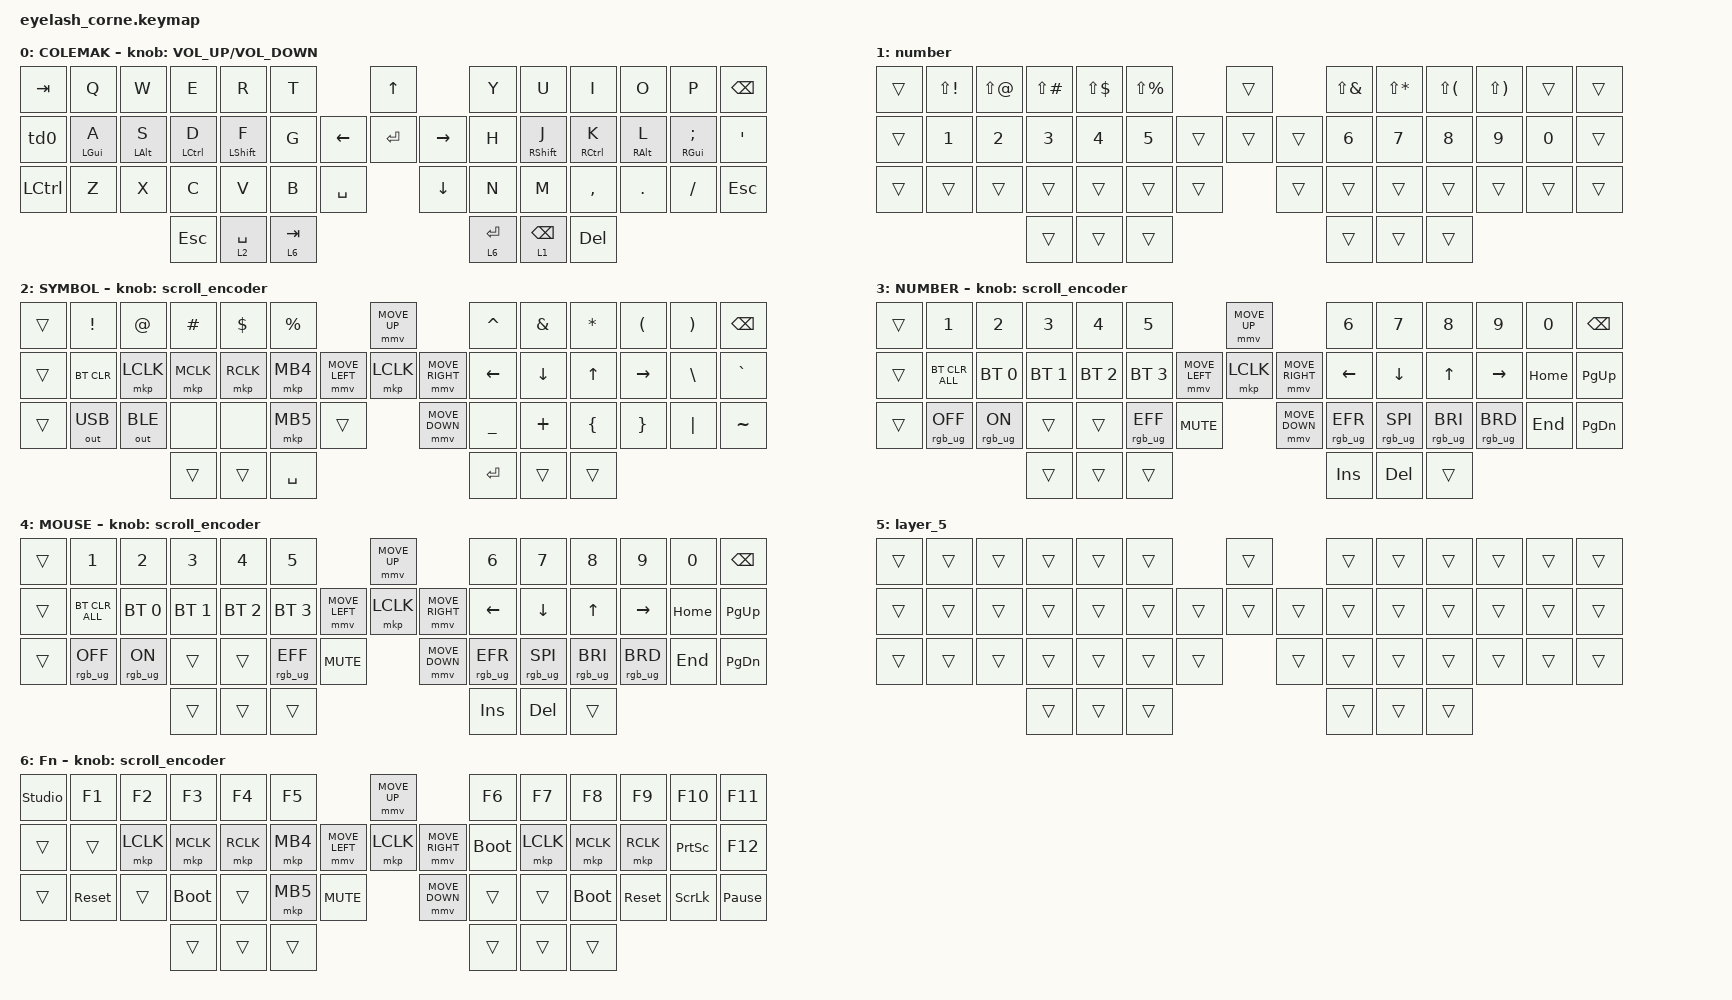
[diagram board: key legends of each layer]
#include <dt-bindings/zmk/mouse.h>
#include <input/processors.dtsi>
#include <behaviors.dtsi>
#include <dt-bindings/zmk/bt.h>
#include <dt-bindings/zmk/keys.h>
#include <dt-bindings/zmk/outputs.h>
#include <dt-bindings/zmk/pointing.h>
#include <dt-bindings/zmk/rgb.h>

/*

   &mmv_input_listener {
       input-processors = <&zip_xy_scaler 2 1>;
   };

   &msc_input_listener {
       input-processors = <&zip_xy_scaler 2 1>;
   };

 */

#define ZMK_MOUSE_DEFAULT_MOVE_VAL 1200  // 600
#define ZMK_MOUSE_DEFAULT_SCRL_VAL 20    // 10

/ {
    behaviors {
        td0: td0 {
            compatible = "zmk,behavior-tap-dance";
            display-name = "Shift/Caps Lock Tap Dance";
            #binding-cells = <0>;
            bindings = <&kp LEFT_SHIFT>, <&kp CAPS>;
        };
    };

    rgb_encoder: rgb_encoder {
        compatible = "zmk,behavior-sensor-rotate";
        #sensor-binding-cells = <0>;
        bindings = <&rgb_ug RGB_BRI>, <&rgb_ug RGB_BRD>;
    };

    scroll_encoder: scroll_encoder {
        compatible = "zmk,behavior-sensor-rotate";
        #sensor-binding-cells = <0>;
        bindings = <&msc SCRL_DOWN>, <&msc SCRL_UP>;

        tap-ms = <30>;
    };

    keymap {
        compatible = "zmk,keymap";

        default_layer {
            display-name = "COLEMAK";
            bindings = <
&kp TAB    &kp Q           &kp W           &kp E               &kp R             &kp T                             &kp UP                &kp Y        &kp U              &kp I        &kp O            &kp P                    &kp BSPC
&td0       &mt LEFT_GUI A  &mt LEFT_ALT S  &mt LEFT_CONTROL D  &mt LEFT_SHIFT F  &kp G                   &kp LEFT  &kp ENTER  &kp RIGHT  &kp H        &mt RIGHT_SHIFT J  &mt RCTRL K  &mt RIGHT_ALT L  &mt RIGHT_GUI SEMICOLON  &kp SQT
&kp LCTRL  &kp Z           &kp X           &kp C               &kp V             &kp B      &kp SPACE              &kp DOWN              &kp N        &kp M              &kp COMMA    &kp DOT          &kp FSLH                 &kp ESC
                                           &kp ESCAPE          &lt 2 SPACE       &lt 6 TAB                                               &lt 6 ENTER  &lt 1 BACKSPACE    &kp DELETE
            >;

            sensor-bindings = <&inc_dec_kp C_VOLUME_UP C_VOLUME_DOWN>;
        };

        number {
            bindings = <
&trans  &kp LS(EXCL)  &kp LS(AT)  &kp LS(POUND)  &kp LS(DLLR)  &kp LS(PRCNT)                    &trans          &kp LS(AMPS)  &kp LS(STAR)  &kp LS(LPAR)  &kp LS(RPAR)  &trans  &trans
&trans  &kp NUMBER_1  &kp N2      &kp N3         &kp N4        &kp N5                   &trans  &trans  &trans  &kp N6        &kp N7        &kp N8        &kp N9        &kp N0  &trans
&trans  &trans        &trans      &trans         &trans        &trans         &trans            &trans          &trans        &trans        &trans        &trans        &trans  &trans
                                  &trans         &trans        &trans                                           &trans        &trans        &trans
            >;
        };

        vim {
            display-name = "SYMBOL";
            bindings = <
&trans  &kp EXCL      &kp AT        &kp HASH   &kp DLLR   &kp PRCNT                            &mmv MOVE_UP                     &kp CARET       &kp AMPS        &kp ASTRK     &kp LPAR         &kp RPAR  &kp BSPC
&trans  &bt BT_CLR    &mkp LCLK     &mkp MCLK  &mkp RCLK  &mkp MB4             &mmv MOVE_LEFT  &mkp LCLK       &mmv MOVE_RIGHT  &kp LEFT_ARROW  &kp DOWN_ARROW  &kp UP_ARROW  &kp RIGHT_ARROW  &kp BSLH  &kp GRAVE
&trans  &out OUT_USB  &out OUT_BLE  &none      &none      &mkp MB5   &trans                    &mmv MOVE_DOWN                   &kp UNDER       &kp PLUS        &kp LBRC      &kp RBRC         &kp PIPE  &kp TILDE
                                    &trans     &trans     &kp SPACE                                                             &kp RET         &trans          &trans
            >;

            sensor-bindings = <&scroll_encoder>;
        };

        lower_layer {
            display-name = "NUMBER";
            bindings = <
&trans  &kp N1           &kp N2          &kp N3        &kp N4        &kp N5                                         &mmv MOVE_UP                     &kp N6           &kp N7           &kp N8           &kp N9           &kp N0    &kp BSPC
&trans  &bt BT_CLR_ALL   &bt BT_SEL 0    &bt BT_SEL 1  &bt BT_SEL 2  &bt BT_SEL 3                   &mmv MOVE_LEFT  &mkp LCLK       &mmv MOVE_RIGHT  &kp LEFT         &kp DOWN         &kp UP           &kp RIGHT        &kp HOME  &kp PG_UP
&trans  &rgb_ug RGB_OFF  &rgb_ug RGB_ON  &trans        &trans        &rgb_ug RGB_EFF  &kp C_MUTE                    &mmv MOVE_DOWN                   &rgb_ug RGB_EFR  &rgb_ug RGB_SPI  &rgb_ug RGB_BRI  &rgb_ug RGB_BRD  &kp END   &kp PG_DN
                                         &trans        &trans        &trans                                                                          &kp INS          &kp DEL          &trans
            >;

            sensor-bindings = <&scroll_encoder>;
        };

        mouse {
            display-name = "MOUSE";
            bindings = <
&trans  &kp N1           &kp N2          &kp N3        &kp N4        &kp N5                                         &mmv MOVE_UP                     &kp N6           &kp N7           &kp N8           &kp N9           &kp N0    &kp BSPC
&trans  &bt BT_CLR_ALL   &bt BT_SEL 0    &bt BT_SEL 1  &bt BT_SEL 2  &bt BT_SEL 3                   &mmv MOVE_LEFT  &mkp LCLK       &mmv MOVE_RIGHT  &kp LEFT         &kp DOWN         &kp UP           &kp RIGHT        &kp HOME  &kp PG_UP
&trans  &rgb_ug RGB_OFF  &rgb_ug RGB_ON  &trans        &trans        &rgb_ug RGB_EFF  &kp C_MUTE                    &mmv MOVE_DOWN                   &rgb_ug RGB_EFR  &rgb_ug RGB_SPI  &rgb_ug RGB_BRI  &rgb_ug RGB_BRD  &kp END   &kp PG_DN
                                         &trans        &trans        &trans                                                                          &kp INS          &kp DEL          &trans
            >;

            sensor-bindings = <&scroll_encoder>;
        };

        layer_5 {
            bindings = <
&trans  &trans  &trans  &trans  &trans  &trans                    &trans          &trans  &trans  &trans  &trans  &trans  &trans
&trans  &trans  &trans  &trans  &trans  &trans            &trans  &trans  &trans  &trans  &trans  &trans  &trans  &trans  &trans
&trans  &trans  &trans  &trans  &trans  &trans  &trans            &trans          &trans  &trans  &trans  &trans  &trans  &trans
                        &trans  &trans  &trans                                    &trans  &trans  &trans
            >;
        };

        layer_3 {
            display-name = "Fn";
            bindings = <
&studio_unlock  &kp F1      &kp F2     &kp F3       &kp F4     &kp F5                                  &mmv MOVE_UP                     &kp F6       &kp F7     &kp F8       &kp F9      &kp F10          &kp F11
&trans          &trans      &mkp LCLK  &mkp MCLK    &mkp RCLK  &mkp MB4                &mmv MOVE_LEFT  &mkp LCLK       &mmv MOVE_RIGHT  &bootloader  &mkp LCLK  &mkp MCLK    &mkp RCLK   &kp PRINTSCREEN  &kp F12
&trans          &sys_reset  &trans     &bootloader  &trans     &mkp MB5  &kp C_MUTE                    &mmv MOVE_DOWN                   &trans       &trans     &bootloader  &sys_reset  &kp SCROLLLOCK   &kp PAUSE_BREAK
                                       &trans       &trans     &trans                                                                   &trans       &trans     &trans
            >;

            sensor-bindings = <&scroll_encoder>;
        };
    };
};
